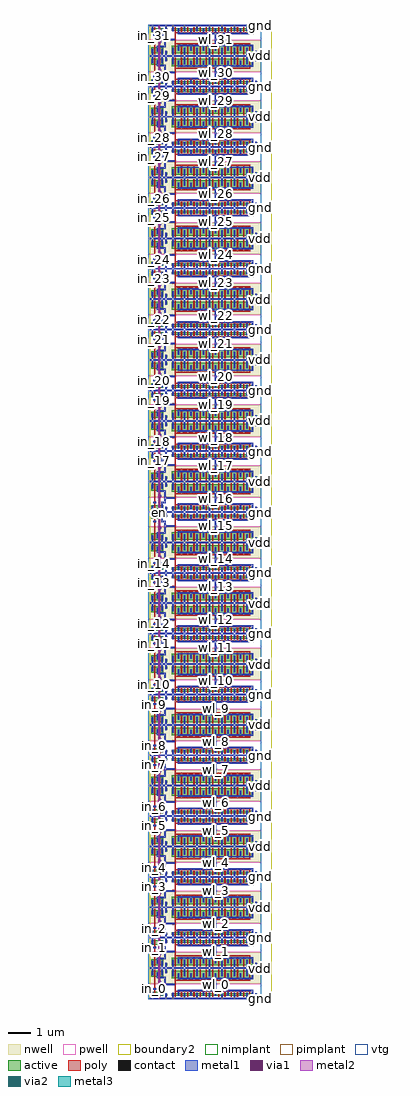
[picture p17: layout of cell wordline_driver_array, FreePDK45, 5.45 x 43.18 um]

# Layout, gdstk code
import gdstk
lib = gdstk.Library(unit=1e-6, precision=5e-10)
def R(c, l, rs):  # rectangles x0, y0, x1, y1
    for r in rs: c.add(gdstk.rectangle(r[:2], r[2:], *l))
def A(c, l, x, y, w, h, nx, ny, dx, dy):  # array of equal rectangles
    R(c, l, [(x+i*dx, y+j*dy, x+i*dx+w, y+j*dy+h) for i in range(nx) for j in range(ny)])
active = (1, 0)
pwell = (2, 0)
nwell = (3, 0)
nimplant = (4, 0)
pimplant = (5, 0)
vtg = (6, 0)
poly = (9, 0)
contact = (10, 0)
metal1 = (11, 0)
via1 = (12, 0)
metal2 = (13, 0)
via2 = (14, 0)
metal3 = (15, 0)
boundary2 = (239, 0)

contact_10 = lib.new_cell('contact_10')
R(contact_10, active, [(0,0.0225,0.09,0.1125)])
R(contact_10, nwell, [(-0.055,-0.0325,0.145,0.1675)])
R(contact_10, pimplant, [(0,0.0225,0.09,0.1125)])
R(contact_10, contact, [(0.0125,0.035,0.0775,0.1)])
R(contact_10, metal1, [(0.0125,0,0.0775,0.135)])
R(contact_10, boundary2, [(-0.055,-0.0325,0.145,0.1675)])

pmos_m1_w0_270_sm1_dm1 = lib.new_cell('pmos_m1_w0_270_sm1_dm1')
R(pmos_m1_w0_270_sm1_dm1, active, [(0,0,0.305,0.27)])
R(pmos_m1_w0_270_sm1_dm1, nwell, [(-0.08,-0.08,0.385,0.35)])
R(pmos_m1_w0_270_sm1_dm1, pimplant, [(0,0,0.305,0.27)])
R(pmos_m1_w0_270_sm1_dm1, vtg, [(-0.08,-0.08,0.385,0.35)])
R(pmos_m1_w0_270_sm1_dm1, poly, [(0.1275,-0.055,0.1775,0.325), (0.1275,-0.055,0.1775,0.325)])
R(pmos_m1_w0_270_sm1_dm1, metal1, [(0.0125,0.0675,0.0775,0.2025), (0.2275,0.0675,0.2925,0.2025)])
R(pmos_m1_w0_270_sm1_dm1, boundary2, [(-0.08,-0.08,0.385,0.35)])
pmos_m1_w0_270_sm1_dm1.add(gdstk.Reference(contact_10, (0,0.0675)))
pmos_m1_w0_270_sm1_dm1.add(gdstk.Reference(contact_10, (0.215,0.0675)))
pmos_m1_w0_270_sm1_dm1.add(gdstk.Label('G', (0.1525,0.135), layer=9, texttype=0))
pmos_m1_w0_270_sm1_dm1.add(gdstk.Label('S', (0.045,0.135), layer=11, texttype=0))
pmos_m1_w0_270_sm1_dm1.add(gdstk.Label('D', (0.26,0.135), layer=11, texttype=0))

contact_9 = lib.new_cell('contact_9')
R(contact_9, active, [(0,0.0225,0.09,0.1125)])
R(contact_9, pwell, [(-0.055,-0.0325,0.145,0.1675)])
R(contact_9, nimplant, [(0,0.0225,0.09,0.1125)])
R(contact_9, contact, [(0.0125,0.035,0.0775,0.1)])
R(contact_9, metal1, [(0.0125,0,0.0775,0.135)])
R(contact_9, boundary2, [(-0.055,-0.0325,0.145,0.1675)])

nmos_m1_w0_180_sm1_dacti = lib.new_cell('nmos_m1_w0_180_sm1_dactive')
R(nmos_m1_w0_180_sm1_dacti, active, [(0,0,0.305,0.18), (0.215,0.045,0.305,0.135)])
R(nmos_m1_w0_180_sm1_dacti, pwell, [(-0.08,-0.08,0.385,0.26)])
R(nmos_m1_w0_180_sm1_dacti, nimplant, [(0,0,0.305,0.18)])
R(nmos_m1_w0_180_sm1_dacti, vtg, [(-0.08,-0.08,0.385,0.26)])
R(nmos_m1_w0_180_sm1_dacti, poly, [(0.1275,-0.055,0.1775,0.235), (0.1275,-0.055,0.1775,0.235)])
R(nmos_m1_w0_180_sm1_dacti, metal1, [(0.0125,0.0225,0.0775,0.1575)])
R(nmos_m1_w0_180_sm1_dacti, boundary2, [(-0.08,-0.08,0.385,0.26)])
nmos_m1_w0_180_sm1_dacti.add(gdstk.Reference(contact_9, (0,0.0225)))
nmos_m1_w0_180_sm1_dacti.add(gdstk.Label('G', (0.1525,0.09), layer=9, texttype=0))
nmos_m1_w0_180_sm1_dacti.add(gdstk.Label('S', (0.045,0.09), layer=11, texttype=0))
nmos_m1_w0_180_sm1_dacti.add(gdstk.Label('D', (0.26,0.09), layer=1, texttype=0))

nmos_m1_w0_180_sactive_d = lib.new_cell('nmos_m1_w0_180_sactive_dm1')
R(nmos_m1_w0_180_sactive_d, active, [(0,0,0.305,0.18), (0,0.045,0.09,0.135)])
R(nmos_m1_w0_180_sactive_d, pwell, [(-0.08,-0.08,0.385,0.26)])
R(nmos_m1_w0_180_sactive_d, nimplant, [(0,0,0.305,0.18)])
R(nmos_m1_w0_180_sactive_d, vtg, [(-0.08,-0.08,0.385,0.26)])
R(nmos_m1_w0_180_sactive_d, poly, [(0.1275,-0.055,0.1775,0.235), (0.1275,-0.055,0.1775,0.235)])
R(nmos_m1_w0_180_sactive_d, metal1, [(0.2275,0.0225,0.2925,0.1575)])
R(nmos_m1_w0_180_sactive_d, boundary2, [(-0.08,-0.08,0.385,0.26)])
nmos_m1_w0_180_sactive_d.add(gdstk.Reference(contact_9, (0.215,0.0225)))
nmos_m1_w0_180_sactive_d.add(gdstk.Label('G', (0.1525,0.09), layer=9, texttype=0))
nmos_m1_w0_180_sactive_d.add(gdstk.Label('S', (0.045,0.09), layer=1, texttype=0))
nmos_m1_w0_180_sactive_d.add(gdstk.Label('D', (0.26,0.09), layer=11, texttype=0))

contact_11 = lib.new_cell('contact_11')
R(contact_11, active, [(0,0.0225,0.09,0.1125)])
R(contact_11, nwell, [(-0.055,-0.0325,0.145,0.1675)])
R(contact_11, nimplant, [(0,0.0225,0.09,0.1125)])
R(contact_11, contact, [(0.0125,0.035,0.0775,0.1)])
R(contact_11, metal1, [(0.0125,0,0.0775,0.135)])
R(contact_11, boundary2, [(-0.055,-0.0325,0.145,0.1675)])

contact_12 = lib.new_cell('contact_12')
R(contact_12, active, [(0,0.0225,0.09,0.1125)])
R(contact_12, pwell, [(-0.055,-0.0325,0.145,0.1675)])
R(contact_12, pimplant, [(0,0.0225,0.09,0.1125)])
R(contact_12, contact, [(0.0125,0.035,0.0775,0.1)])
R(contact_12, metal1, [(0.0125,0,0.0775,0.135)])
R(contact_12, boundary2, [(-0.055,-0.0325,0.145,0.1675)])

contact_13 = lib.new_cell('contact_13')
R(contact_13, poly, [(0.03,0,0.105,0.075)])
R(contact_13, contact, [(0.035,0.005,0.1,0.07)])
R(contact_13, metal1, [(0,0.005,0.135,0.07)])
R(contact_13, boundary2, [(0,0,0.135,0.075)])

pnand2 = lib.new_cell('pnand2')
R(pnand2, pwell, [(-0.055,-0.0325,0.9575,0.645)])
R(pnand2, nwell, [(-0.055,0.645,0.9575,1.38)])
R(pnand2, vtg, [(-0.055,-0.0325,0.9575,0.645), (-0.055,0.645,0.9575,1.38)])
R(pnand2, poly, [(0.2075,0.36,0.2575,0.895), (0.4225,0.36,0.4725,0.895), (0.2075,0.39,0.2325,0.465), (0.4225,0.67,0.4475,0.745)])
R(pnand2, metal1, [(0,-0.0325,0.9025,0.0325), (0.0925,-0.0325,0.1575,0.1475), (0.6925,0,0.7575,0.17), (0.5225,0.2825,0.5875,0.4125), (0.5225,0.38,0.5875,0.445), (0.555,0.38,0.685,0.445), (0.6525,0.38,0.7175,0.445), (0.165,0.395,0.3,0.46), (0.6525,0.4125,0.7175,0.92), (0.38,0.675,0.515,0.74), (0.3075,0.8875,0.3725,0.9525), (0.34,0.8875,0.685,0.9525), (0.6525,0.8875,0.7175,0.9525), (0.3075,0.92,0.3725,1.0175), (0.0925,1.0175,0.1575,1.3775), (0.5225,1.0175,0.5875,1.3775), (0.6925,1.175,0.7575,1.345), (0,1.3125,0.9025,1.3775)])
R(pnand2, boundary2, [(0,0,0.9025,1.345), (0,0,0.9025,1.345)])
pnand2.add(gdstk.Reference(pmos_m1_w0_270_sm1_dm1, (0.08,0.95)))
pnand2.add(gdstk.Reference(pmos_m1_w0_270_sm1_dm1, (0.295,0.95)))
pnand2.add(gdstk.Reference(nmos_m1_w0_180_sm1_dacti, (0.08,0.125)))
pnand2.add(gdstk.Reference(nmos_m1_w0_180_sactive_d, (0.295,0.125)))
pnand2.add(gdstk.Reference(contact_11, (0.68,1.1075)))
pnand2.add(gdstk.Reference(contact_12, (0.68,0.1025)))
pnand2.add(gdstk.Reference(contact_13, (0.165,0.39)))
pnand2.add(gdstk.Reference(contact_13, (0.38,0.67)))
pnand2.add(gdstk.Label('Z', (0.685,0.92), layer=11, texttype=0))
pnand2.add(gdstk.Label('gnd', (0.451,0), layer=11, texttype=0))
pnand2.add(gdstk.Label('vdd', (0.451,1.345), layer=11, texttype=0))
pnand2.add(gdstk.Label('A', (0.2325,0.4275), layer=11, texttype=0))
pnand2.add(gdstk.Label('B', (0.4475,0.7075), layer=11, texttype=0))

pmos_m13_w0_333_sm1_dm1_ = lib.new_cell('pmos_m13_w0_333_sm1_dm1_da_p')
R(pmos_m13_w0_333_sm1_dm1_, active, [(0,0,3.605,0.3325)])
R(pmos_m13_w0_333_sm1_dm1_, nwell, [(-0.08,-0.08,3.685,0.4125)])
R(pmos_m13_w0_333_sm1_dm1_, pimplant, [(0,0,3.605,0.3325)])
R(pmos_m13_w0_333_sm1_dm1_, vtg, [(-0.08,-0.08,3.685,0.4125)])
A(pmos_m13_w0_333_sm1_dm1_, poly, 0.1275, -0.055, 0.05, 0.4425, 13, 1, 0.275, 0)
R(pmos_m13_w0_333_sm1_dm1_, poly, [(0.1275,-0.105,3.4775,-0.055)])
A(pmos_m13_w0_333_sm1_dm1_, metal1, 0.2575, 0, 0.065, 0.165, 6, 1, 0.55, 0)
A(pmos_m13_w0_333_sm1_dm1_, metal1, 0.5325, 0.1, 0.065, 0.135, 6, 1, 0.55, 0)
R(pmos_m13_w0_333_sm1_dm1_, metal1, [(0.2575,-0.03,3.5925,0.035), (3.5275,0,3.5925,0.165), (0.0125,0.1,0.0775,0.235)])
R(pmos_m13_w0_333_sm1_dm1_, boundary2, [(-0.08,-0.08,3.685,0.4125)])
pmos_m13_w0_333_sm1_dm1_.add(gdstk.Reference(contact_10, (0,0.1)))
pmos_m13_w0_333_sm1_dm1_.add(gdstk.Reference(contact_10, (0.245,0.1)))
pmos_m13_w0_333_sm1_dm1_.add(gdstk.Reference(contact_10, (0.52,0.1)))
pmos_m13_w0_333_sm1_dm1_.add(gdstk.Reference(contact_10, (0.795,0.1)))
pmos_m13_w0_333_sm1_dm1_.add(gdstk.Reference(contact_10, (1.07,0.1)))
pmos_m13_w0_333_sm1_dm1_.add(gdstk.Reference(contact_10, (1.345,0.1)))
pmos_m13_w0_333_sm1_dm1_.add(gdstk.Reference(contact_10, (1.62,0.1)))
pmos_m13_w0_333_sm1_dm1_.add(gdstk.Reference(contact_10, (1.895,0.1)))
pmos_m13_w0_333_sm1_dm1_.add(gdstk.Reference(contact_10, (2.17,0.1)))
pmos_m13_w0_333_sm1_dm1_.add(gdstk.Reference(contact_10, (2.445,0.1)))
pmos_m13_w0_333_sm1_dm1_.add(gdstk.Reference(contact_10, (2.72,0.1)))
pmos_m13_w0_333_sm1_dm1_.add(gdstk.Reference(contact_10, (2.995,0.1)))
pmos_m13_w0_333_sm1_dm1_.add(gdstk.Reference(contact_10, (3.27,0.1)))
pmos_m13_w0_333_sm1_dm1_.add(gdstk.Reference(contact_10, (3.515,0.1)))
pmos_m13_w0_333_sm1_dm1_.add(gdstk.Label('G', (1.8025,-0.08), layer=9, texttype=0))
pmos_m13_w0_333_sm1_dm1_.add(gdstk.Label('S', (0.565,0.1675), layer=11, texttype=0))
pmos_m13_w0_333_sm1_dm1_.add(gdstk.Label('S', (3.315,0.1675), layer=11, texttype=0))
pmos_m13_w0_333_sm1_dm1_.add(gdstk.Label('S', (2.215,0.1675), layer=11, texttype=0))
pmos_m13_w0_333_sm1_dm1_.add(gdstk.Label('S', (1.115,0.1675), layer=11, texttype=0))
pmos_m13_w0_333_sm1_dm1_.add(gdstk.Label('S', (2.765,0.1675), layer=11, texttype=0))
pmos_m13_w0_333_sm1_dm1_.add(gdstk.Label('S', (1.665,0.1675), layer=11, texttype=0))
pmos_m13_w0_333_sm1_dm1_.add(gdstk.Label('S', (0.045,0.1675), layer=11, texttype=0))
pmos_m13_w0_333_sm1_dm1_.add(gdstk.Label('D', (1.925,0.0025), layer=11, texttype=0))

nmos_m13_w0_110_sm1_dm1_ = lib.new_cell('nmos_m13_w0_110_sm1_dm1_da_p')
R(nmos_m13_w0_110_sm1_dm1_, active, [(0,0,3.605,0.11)])
R(nmos_m13_w0_110_sm1_dm1_, pwell, [(-0.08,-0.08,3.685,0.19)])
R(nmos_m13_w0_110_sm1_dm1_, nimplant, [(0,0,3.605,0.11)])
R(nmos_m13_w0_110_sm1_dm1_, vtg, [(-0.08,-0.08,3.685,0.19)])
A(nmos_m13_w0_110_sm1_dm1_, poly, 0.1275, -0.055, 0.05, 0.22, 13, 1, 0.275, 0)
R(nmos_m13_w0_110_sm1_dm1_, poly, [(0.1275,0.165,3.4775,0.215)])
A(nmos_m13_w0_110_sm1_dm1_, metal1, 0.5325, -0.0125, 0.065, 0.135, 6, 1, 0.55, 0)
A(nmos_m13_w0_110_sm1_dm1_, metal1, 0.2575, 0.055, 0.065, 0.165, 6, 1, 0.55, 0)
R(nmos_m13_w0_110_sm1_dm1_, metal1, [(0.0125,-0.0125,0.0775,0.1225), (3.5275,0.055,3.5925,0.22), (0.2575,0.1875,3.5925,0.2525)])
R(nmos_m13_w0_110_sm1_dm1_, boundary2, [(-0.08,-0.08,3.685,0.22)])
nmos_m13_w0_110_sm1_dm1_.add(gdstk.Reference(contact_9, (0,-0.0125)))
nmos_m13_w0_110_sm1_dm1_.add(gdstk.Reference(contact_9, (0.245,-0.0125)))
nmos_m13_w0_110_sm1_dm1_.add(gdstk.Reference(contact_9, (0.52,-0.0125)))
nmos_m13_w0_110_sm1_dm1_.add(gdstk.Reference(contact_9, (0.795,-0.0125)))
nmos_m13_w0_110_sm1_dm1_.add(gdstk.Reference(contact_9, (1.07,-0.0125)))
nmos_m13_w0_110_sm1_dm1_.add(gdstk.Reference(contact_9, (1.345,-0.0125)))
nmos_m13_w0_110_sm1_dm1_.add(gdstk.Reference(contact_9, (1.62,-0.0125)))
nmos_m13_w0_110_sm1_dm1_.add(gdstk.Reference(contact_9, (1.895,-0.0125)))
nmos_m13_w0_110_sm1_dm1_.add(gdstk.Reference(contact_9, (2.17,-0.0125)))
nmos_m13_w0_110_sm1_dm1_.add(gdstk.Reference(contact_9, (2.445,-0.0125)))
nmos_m13_w0_110_sm1_dm1_.add(gdstk.Reference(contact_9, (2.72,-0.0125)))
nmos_m13_w0_110_sm1_dm1_.add(gdstk.Reference(contact_9, (2.995,-0.0125)))
nmos_m13_w0_110_sm1_dm1_.add(gdstk.Reference(contact_9, (3.27,-0.0125)))
nmos_m13_w0_110_sm1_dm1_.add(gdstk.Reference(contact_9, (3.515,-0.0125)))
nmos_m13_w0_110_sm1_dm1_.add(gdstk.Label('G', (1.8025,0.19), layer=9, texttype=0))
nmos_m13_w0_110_sm1_dm1_.add(gdstk.Label('S', (2.765,0.055), layer=11, texttype=0))
nmos_m13_w0_110_sm1_dm1_.add(gdstk.Label('S', (3.315,0.055), layer=11, texttype=0))
nmos_m13_w0_110_sm1_dm1_.add(gdstk.Label('S', (1.665,0.055), layer=11, texttype=0))
nmos_m13_w0_110_sm1_dm1_.add(gdstk.Label('S', (0.565,0.055), layer=11, texttype=0))
nmos_m13_w0_110_sm1_dm1_.add(gdstk.Label('S', (0.045,0.055), layer=11, texttype=0))
nmos_m13_w0_110_sm1_dm1_.add(gdstk.Label('S', (2.215,0.055), layer=11, texttype=0))
nmos_m13_w0_110_sm1_dm1_.add(gdstk.Label('S', (1.115,0.055), layer=11, texttype=0))
nmos_m13_w0_110_sm1_dm1_.add(gdstk.Label('D', (1.925,0.22), layer=11, texttype=0))

pinv_0 = lib.new_cell('pinv_0')
R(pinv_0, pwell, [(-0.055,-0.0325,4.0425,0.645)])
R(pinv_0, nwell, [(-0.055,0.645,4.0425,1.38)])
R(pinv_0, vtg, [(-0.055,-0.0325,4.0425,0.645), (-0.055,0.645,4.0425,1.38)])
R(pinv_0, poly, [(0.2075,0.34,0.2575,0.7825), (0.14,0.58,0.2075,0.655)])
A(pinv_0, metal1, 0.6125, -0.0325, 0.065, 0.145, 6, 1, 0.55, 0)
A(pinv_0, metal1, 0.6125, 0.9875, 0.065, 0.39, 6, 1, 0.55, 0)
R(pinv_0, metal1, [(0,-0.0325,3.9875,0.0325), (0.0925,-0.0325,0.1575,0.1125), (3.7775,0,3.8425,0.17), (1.9725,0.3125,2.0375,0.9225), (0.0725,0.585,0.2075,0.65), (2.005,0.585,2.07,0.65), (0.0925,0.9875,0.1575,1.3775), (3.7775,1.175,3.8425,1.345), (0,1.3125,3.9875,1.3775)])
R(pinv_0, boundary2, [(0,0,3.9875,1.345), (0,0,3.9875,1.345)])
pinv_0.add(gdstk.Reference(pmos_m13_w0_333_sm1_dm1_, (0.08,0.8875)))
pinv_0.add(gdstk.Reference(nmos_m13_w0_110_sm1_dm1_, (0.08,0.125)))
pinv_0.add(gdstk.Reference(contact_11, (3.765,1.1075)))
pinv_0.add(gdstk.Reference(contact_12, (3.765,0.1025)))
pinv_0.add(gdstk.Reference(contact_13, (0.0725,0.58)))
pinv_0.add(gdstk.Label('A', (0.14,0.6175), layer=11, texttype=0))
pinv_0.add(gdstk.Label('Z', (2.0375,0.6175), layer=11, texttype=0))
pinv_0.add(gdstk.Label('gnd', (1.994,0), layer=11, texttype=0))
pinv_0.add(gdstk.Label('vdd', (1.994,1.345), layer=11, texttype=0))

wordline_driver = lib.new_cell('wordline_driver')
R(wordline_driver, metal1, [(0,-0.0325,4.89,0.0325), (0.165,0.395,0.3,0.46), (0.6525,0.585,0.7175,0.65), (0.685,0.585,1.0425,0.65), (2.9075,0.585,2.9725,0.65), (0.6525,0.6175,0.7175,0.92), (0.38,0.675,0.515,0.74), (0,1.3125,4.89,1.3775)])
R(wordline_driver, boundary2, [(0,0,4.89,1.345)])
wordline_driver.add(gdstk.Reference(pnand2, (0,0)))
wordline_driver.add(gdstk.Reference(pinv_0, (0.9025,0)))
wordline_driver.add(gdstk.Label('Z', (2.94,0.6175), layer=11, texttype=0))
wordline_driver.add(gdstk.Label('A', (0.2325,0.4275), layer=11, texttype=0))
wordline_driver.add(gdstk.Label('B', (0.4475,0.7075), layer=11, texttype=0))
wordline_driver.add(gdstk.Label('gnd', (2.445,0), layer=11, texttype=0))
wordline_driver.add(gdstk.Label('vdd', (2.445,1.345), layer=11, texttype=0))

contact_6 = lib.new_cell('contact_6')
R(contact_6, metal1, [(0,0.035,0.135,0.1)])
R(contact_6, via1, [(0.035,0.035,0.1,0.1)])
R(contact_6, metal2, [(0.0325,0,0.1025,0.135)])
R(contact_6, boundary2, [(0,0,0.135,0.135)])

contact_7 = lib.new_cell('contact_7')
R(contact_7, metal2, [(0.0325,0,0.1025,0.135)])
R(contact_7, via2, [(0.035,0.035,0.1,0.1)])
R(contact_7, metal3, [(0,0.0325,0.135,0.1025)])
R(contact_7, boundary2, [(0,0,0.135,0.135)])

wordline_driver_array = lib.new_cell('wordline_driver_array')
R(wordline_driver_array, metal1, [(0.165,0.395,0.3,0.46), (2.9075,0.585,2.9725,0.65), (2.9075,2.04,2.9725,2.105), (0.165,2.23,0.3,2.295), (0.165,3.085,0.3,3.15), (2.9075,3.275,2.9725,3.34), (2.9075,4.73,2.9725,4.795), (0.165,4.92,0.3,4.985), (0.165,5.775,0.3,5.84), (2.9075,5.965,2.9725,6.03), (2.9075,7.42,2.9725,7.485), (0.165,7.61,0.3,7.675), (0.165,8.465,0.3,8.53), (2.9075,8.655,2.9725,8.72), (2.9075,10.11,2.9725,10.175), (0.165,10.3,0.3,10.365), (0.165,11.155,0.3,11.22), (2.9075,11.345,2.9725,11.41), (2.9075,12.8,2.9725,12.865), (0.165,12.99,0.3,13.055), (0.165,13.845,0.3,13.91), (2.9075,14.035,2.9725,14.1), (2.9075,15.49,2.9725,15.555), (0.165,15.68,0.3,15.745), (0.165,16.535,0.3,16.6), (2.9075,16.725,2.9725,16.79), (2.9075,18.18,2.9725,18.245), (0.165,18.37,0.3,18.435), (0.165,19.225,0.3,19.29), (2.9075,19.415,2.9725,19.48), (2.9075,20.87,2.9725,20.935), (0.165,21.06,0.3,21.125), (0.165,21.915,0.3,21.98), (2.9075,22.105,2.9725,22.17), (2.9075,23.56,2.9725,23.625), (0.165,23.75,0.3,23.815), (0.165,24.605,0.3,24.67), (2.9075,24.795,2.9725,24.86), (2.9075,26.25,2.9725,26.315), (0.165,26.44,0.3,26.505), (0.165,27.295,0.3,27.36), (2.9075,27.485,2.9725,27.55), (2.9075,28.94,2.9725,29.005), (0.165,29.13,0.3,29.195), (0.165,29.985,0.3,30.05), (2.9075,30.175,2.9725,30.24), (2.9075,31.63,2.9725,31.695), (0.165,31.82,0.3,31.885), (0.165,32.675,0.3,32.74), (2.9075,32.865,2.9725,32.93), (2.9075,34.32,2.9725,34.385), (0.165,34.51,0.3,34.575), (0.165,35.365,0.3,35.43), (2.9075,35.555,2.9725,35.62), (2.9075,37.01,2.9725,37.075), (0.165,37.2,0.3,37.265), (0.165,38.055,0.3,38.12), (2.9075,38.245,2.9725,38.31), (2.9075,39.7,2.9725,39.765), (0.165,39.89,0.3,39.955), (0.165,40.745,0.3,40.81), (2.9075,40.935,2.9725,41), (2.9075,42.39,2.9725,42.455), (0.165,42.58,0.3,42.645)])
R(wordline_driver_array, metal2, [(0.38,0,0.45,43.04)])
A(wordline_driver_array, metal3, 4.8225, -0.0675, 0.135, 0.135, 1, 6, 0, 1.345)
A(wordline_driver_array, metal3, 4.8225, 6.6575, 0.135, 0.135, 1, 11, 0, 1.345)
A(wordline_driver_array, metal3, 4.8225, 20.1075, 0.135, 0.135, 1, 7, 0, 1.345)
A(wordline_driver_array, metal3, 4.8225, 28.1775, 0.135, 0.135, 1, 7, 0, 1.345)
A(wordline_driver_array, metal3, 4.8225, 36.2475, 0.135, 0.135, 1, 6, 0, 1.345)
R(wordline_driver_array, boundary2, [(0,0,5.395,43.04)])
wordline_driver_array.add(gdstk.Reference(wordline_driver, (0,0)))
wordline_driver_array.add(gdstk.Reference(wordline_driver, (0,2.69), x_reflection=True))
wordline_driver_array.add(gdstk.Reference(wordline_driver, (0,2.69)))
wordline_driver_array.add(gdstk.Reference(wordline_driver, (0,5.38), x_reflection=True))
wordline_driver_array.add(gdstk.Reference(wordline_driver, (0,5.38)))
wordline_driver_array.add(gdstk.Reference(wordline_driver, (0,8.07), x_reflection=True))
wordline_driver_array.add(gdstk.Reference(wordline_driver, (0,8.07)))
wordline_driver_array.add(gdstk.Reference(wordline_driver, (0,10.76), x_reflection=True))
wordline_driver_array.add(gdstk.Reference(wordline_driver, (0,10.76)))
wordline_driver_array.add(gdstk.Reference(wordline_driver, (0,13.45), x_reflection=True))
wordline_driver_array.add(gdstk.Reference(wordline_driver, (0,13.45)))
wordline_driver_array.add(gdstk.Reference(wordline_driver, (0,16.14), x_reflection=True))
wordline_driver_array.add(gdstk.Reference(wordline_driver, (0,16.14)))
wordline_driver_array.add(gdstk.Reference(wordline_driver, (0,18.83), x_reflection=True))
wordline_driver_array.add(gdstk.Reference(wordline_driver, (0,18.83)))
wordline_driver_array.add(gdstk.Reference(wordline_driver, (0,21.52), x_reflection=True))
wordline_driver_array.add(gdstk.Reference(wordline_driver, (0,21.52)))
wordline_driver_array.add(gdstk.Reference(wordline_driver, (0,24.21), x_reflection=True))
wordline_driver_array.add(gdstk.Reference(wordline_driver, (0,24.21)))
wordline_driver_array.add(gdstk.Reference(wordline_driver, (0,26.9), x_reflection=True))
wordline_driver_array.add(gdstk.Reference(wordline_driver, (0,26.9)))
wordline_driver_array.add(gdstk.Reference(wordline_driver, (0,29.59), x_reflection=True))
wordline_driver_array.add(gdstk.Reference(wordline_driver, (0,29.59)))
wordline_driver_array.add(gdstk.Reference(wordline_driver, (0,32.28), x_reflection=True))
wordline_driver_array.add(gdstk.Reference(wordline_driver, (0,32.28)))
wordline_driver_array.add(gdstk.Reference(wordline_driver, (0,34.97), x_reflection=True))
wordline_driver_array.add(gdstk.Reference(wordline_driver, (0,34.97)))
wordline_driver_array.add(gdstk.Reference(wordline_driver, (0,37.66), x_reflection=True))
wordline_driver_array.add(gdstk.Reference(wordline_driver, (0,37.66)))
wordline_driver_array.add(gdstk.Reference(wordline_driver, (0,40.35), x_reflection=True))
wordline_driver_array.add(gdstk.Reference(wordline_driver, (0,40.35)))
wordline_driver_array.add(gdstk.Reference(wordline_driver, (0,43.04), x_reflection=True))
wordline_driver_array.add(gdstk.Reference(contact_6, (0.38,0.64)))
wordline_driver_array.add(gdstk.Reference(contact_6, (0.38,1.915)))
wordline_driver_array.add(gdstk.Reference(contact_6, (0.38,3.33)))
wordline_driver_array.add(gdstk.Reference(contact_6, (0.38,4.605)))
wordline_driver_array.add(gdstk.Reference(contact_6, (0.38,6.02)))
wordline_driver_array.add(gdstk.Reference(contact_6, (0.38,7.295)))
wordline_driver_array.add(gdstk.Reference(contact_6, (0.38,8.71)))
wordline_driver_array.add(gdstk.Reference(contact_6, (0.38,9.985)))
wordline_driver_array.add(gdstk.Reference(contact_6, (0.38,11.4)))
wordline_driver_array.add(gdstk.Reference(contact_6, (0.38,12.675)))
wordline_driver_array.add(gdstk.Reference(contact_6, (0.38,14.09)))
wordline_driver_array.add(gdstk.Reference(contact_6, (0.38,15.365)))
wordline_driver_array.add(gdstk.Reference(contact_6, (0.38,16.78)))
wordline_driver_array.add(gdstk.Reference(contact_6, (0.38,18.055)))
wordline_driver_array.add(gdstk.Reference(contact_6, (0.38,19.47)))
wordline_driver_array.add(gdstk.Reference(contact_6, (0.38,20.745)))
wordline_driver_array.add(gdstk.Reference(contact_6, (0.38,22.16)))
wordline_driver_array.add(gdstk.Reference(contact_6, (0.38,23.435)))
wordline_driver_array.add(gdstk.Reference(contact_6, (0.38,24.85)))
wordline_driver_array.add(gdstk.Reference(contact_6, (0.38,26.125)))
wordline_driver_array.add(gdstk.Reference(contact_6, (0.38,27.54)))
wordline_driver_array.add(gdstk.Reference(contact_6, (0.38,28.815)))
wordline_driver_array.add(gdstk.Reference(contact_6, (0.38,30.23)))
wordline_driver_array.add(gdstk.Reference(contact_6, (0.38,31.505)))
wordline_driver_array.add(gdstk.Reference(contact_6, (0.38,32.92)))
wordline_driver_array.add(gdstk.Reference(contact_6, (0.38,34.195)))
wordline_driver_array.add(gdstk.Reference(contact_6, (0.38,35.61)))
wordline_driver_array.add(gdstk.Reference(contact_6, (0.38,36.885)))
wordline_driver_array.add(gdstk.Reference(contact_6, (0.38,38.3)))
wordline_driver_array.add(gdstk.Reference(contact_6, (0.38,39.575)))
wordline_driver_array.add(gdstk.Reference(contact_6, (0.38,40.99)))
wordline_driver_array.add(gdstk.Reference(contact_6, (0.38,42.265)))
wordline_driver_array.add(gdstk.Reference(contact_6, (4.8225,1.2775)))
wordline_driver_array.add(gdstk.Reference(contact_7, (4.8225,1.2775)))
wordline_driver_array.add(gdstk.Reference(contact_6, (4.8225,-0.0675)))
wordline_driver_array.add(gdstk.Reference(contact_7, (4.8225,-0.0675)))
wordline_driver_array.add(gdstk.Reference(contact_6, (4.8225,1.2775)))
wordline_driver_array.add(gdstk.Reference(contact_7, (4.8225,1.2775)))
wordline_driver_array.add(gdstk.Reference(contact_6, (4.8225,2.6225)))
wordline_driver_array.add(gdstk.Reference(contact_7, (4.8225,2.6225)))
wordline_driver_array.add(gdstk.Reference(contact_6, (4.8225,3.9675)))
wordline_driver_array.add(gdstk.Reference(contact_7, (4.8225,3.9675)))
wordline_driver_array.add(gdstk.Reference(contact_6, (4.8225,2.6225)))
wordline_driver_array.add(gdstk.Reference(contact_7, (4.8225,2.6225)))
wordline_driver_array.add(gdstk.Reference(contact_6, (4.8225,3.9675)))
wordline_driver_array.add(gdstk.Reference(contact_7, (4.8225,3.9675)))
wordline_driver_array.add(gdstk.Reference(contact_6, (4.8225,5.3125)))
wordline_driver_array.add(gdstk.Reference(contact_7, (4.8225,5.3125)))
wordline_driver_array.add(gdstk.Reference(contact_6, (4.8225,6.6575)))
wordline_driver_array.add(gdstk.Reference(contact_7, (4.8225,6.6575)))
wordline_driver_array.add(gdstk.Reference(contact_6, (4.8225,5.3125)))
wordline_driver_array.add(gdstk.Reference(contact_7, (4.8225,5.3125)))
wordline_driver_array.add(gdstk.Reference(contact_6, (4.8225,6.6575)))
wordline_driver_array.add(gdstk.Reference(contact_7, (4.8225,6.6575)))
wordline_driver_array.add(gdstk.Reference(contact_6, (4.8225,8.0025)))
wordline_driver_array.add(gdstk.Reference(contact_7, (4.8225,8.0025)))
wordline_driver_array.add(gdstk.Reference(contact_6, (4.8225,9.3475)))
wordline_driver_array.add(gdstk.Reference(contact_7, (4.8225,9.3475)))
wordline_driver_array.add(gdstk.Reference(contact_6, (4.8225,8.0025)))
wordline_driver_array.add(gdstk.Reference(contact_7, (4.8225,8.0025)))
wordline_driver_array.add(gdstk.Reference(contact_6, (4.8225,9.3475)))
wordline_driver_array.add(gdstk.Reference(contact_7, (4.8225,9.3475)))
wordline_driver_array.add(gdstk.Reference(contact_6, (4.8225,10.6925)))
wordline_driver_array.add(gdstk.Reference(contact_7, (4.8225,10.6925)))
wordline_driver_array.add(gdstk.Reference(contact_6, (4.8225,12.0375)))
wordline_driver_array.add(gdstk.Reference(contact_7, (4.8225,12.0375)))
wordline_driver_array.add(gdstk.Reference(contact_6, (4.8225,10.6925)))
wordline_driver_array.add(gdstk.Reference(contact_7, (4.8225,10.6925)))
wordline_driver_array.add(gdstk.Reference(contact_6, (4.8225,12.0375)))
wordline_driver_array.add(gdstk.Reference(contact_7, (4.8225,12.0375)))
wordline_driver_array.add(gdstk.Reference(contact_6, (4.8225,13.3825)))
wordline_driver_array.add(gdstk.Reference(contact_7, (4.8225,13.3825)))
wordline_driver_array.add(gdstk.Reference(contact_6, (4.8225,14.7275)))
wordline_driver_array.add(gdstk.Reference(contact_7, (4.8225,14.7275)))
wordline_driver_array.add(gdstk.Reference(contact_6, (4.8225,13.3825)))
wordline_driver_array.add(gdstk.Reference(contact_7, (4.8225,13.3825)))
wordline_driver_array.add(gdstk.Reference(contact_6, (4.8225,14.7275)))
wordline_driver_array.add(gdstk.Reference(contact_7, (4.8225,14.7275)))
wordline_driver_array.add(gdstk.Reference(contact_6, (4.8225,16.0725)))
wordline_driver_array.add(gdstk.Reference(contact_7, (4.8225,16.0725)))
wordline_driver_array.add(gdstk.Reference(contact_6, (4.8225,17.4175)))
wordline_driver_array.add(gdstk.Reference(contact_7, (4.8225,17.4175)))
wordline_driver_array.add(gdstk.Reference(contact_6, (4.8225,16.0725)))
wordline_driver_array.add(gdstk.Reference(contact_7, (4.8225,16.0725)))
wordline_driver_array.add(gdstk.Reference(contact_6, (4.8225,17.4175)))
wordline_driver_array.add(gdstk.Reference(contact_7, (4.8225,17.4175)))
wordline_driver_array.add(gdstk.Reference(contact_6, (4.8225,18.7625)))
wordline_driver_array.add(gdstk.Reference(contact_7, (4.8225,18.7625)))
wordline_driver_array.add(gdstk.Reference(contact_6, (4.8225,20.1075)))
wordline_driver_array.add(gdstk.Reference(contact_7, (4.8225,20.1075)))
wordline_driver_array.add(gdstk.Reference(contact_6, (4.8225,18.7625)))
wordline_driver_array.add(gdstk.Reference(contact_7, (4.8225,18.7625)))
wordline_driver_array.add(gdstk.Reference(contact_6, (4.8225,20.1075)))
wordline_driver_array.add(gdstk.Reference(contact_7, (4.8225,20.1075)))
wordline_driver_array.add(gdstk.Reference(contact_6, (4.8225,21.4525)))
wordline_driver_array.add(gdstk.Reference(contact_7, (4.8225,21.4525)))
wordline_driver_array.add(gdstk.Reference(contact_6, (4.8225,22.7975)))
wordline_driver_array.add(gdstk.Reference(contact_7, (4.8225,22.7975)))
wordline_driver_array.add(gdstk.Reference(contact_6, (4.8225,21.4525)))
wordline_driver_array.add(gdstk.Reference(contact_7, (4.8225,21.4525)))
wordline_driver_array.add(gdstk.Reference(contact_6, (4.8225,22.7975)))
wordline_driver_array.add(gdstk.Reference(contact_7, (4.8225,22.7975)))
wordline_driver_array.add(gdstk.Reference(contact_6, (4.8225,24.1425)))
wordline_driver_array.add(gdstk.Reference(contact_7, (4.8225,24.1425)))
wordline_driver_array.add(gdstk.Reference(contact_6, (4.8225,25.4875)))
wordline_driver_array.add(gdstk.Reference(contact_7, (4.8225,25.4875)))
wordline_driver_array.add(gdstk.Reference(contact_6, (4.8225,24.1425)))
wordline_driver_array.add(gdstk.Reference(contact_7, (4.8225,24.1425)))
wordline_driver_array.add(gdstk.Reference(contact_6, (4.8225,25.4875)))
wordline_driver_array.add(gdstk.Reference(contact_7, (4.8225,25.4875)))
wordline_driver_array.add(gdstk.Reference(contact_6, (4.8225,26.8325)))
wordline_driver_array.add(gdstk.Reference(contact_7, (4.8225,26.8325)))
wordline_driver_array.add(gdstk.Reference(contact_6, (4.8225,28.1775)))
wordline_driver_array.add(gdstk.Reference(contact_7, (4.8225,28.1775)))
wordline_driver_array.add(gdstk.Reference(contact_6, (4.8225,26.8325)))
wordline_driver_array.add(gdstk.Reference(contact_7, (4.8225,26.8325)))
wordline_driver_array.add(gdstk.Reference(contact_6, (4.8225,28.1775)))
wordline_driver_array.add(gdstk.Reference(contact_7, (4.8225,28.1775)))
wordline_driver_array.add(gdstk.Reference(contact_6, (4.8225,29.5225)))
wordline_driver_array.add(gdstk.Reference(contact_7, (4.8225,29.5225)))
wordline_driver_array.add(gdstk.Reference(contact_6, (4.8225,30.8675)))
wordline_driver_array.add(gdstk.Reference(contact_7, (4.8225,30.8675)))
wordline_driver_array.add(gdstk.Reference(contact_6, (4.8225,29.5225)))
wordline_driver_array.add(gdstk.Reference(contact_7, (4.8225,29.5225)))
wordline_driver_array.add(gdstk.Reference(contact_6, (4.8225,30.8675)))
wordline_driver_array.add(gdstk.Reference(contact_7, (4.8225,30.8675)))
wordline_driver_array.add(gdstk.Reference(contact_6, (4.8225,32.2125)))
wordline_driver_array.add(gdstk.Reference(contact_7, (4.8225,32.2125)))
wordline_driver_array.add(gdstk.Reference(contact_6, (4.8225,33.5575)))
wordline_driver_array.add(gdstk.Reference(contact_7, (4.8225,33.5575)))
wordline_driver_array.add(gdstk.Reference(contact_6, (4.8225,32.2125)))
wordline_driver_array.add(gdstk.Reference(contact_7, (4.8225,32.2125)))
wordline_driver_array.add(gdstk.Reference(contact_6, (4.8225,33.5575)))
wordline_driver_array.add(gdstk.Reference(contact_7, (4.8225,33.5575)))
wordline_driver_array.add(gdstk.Reference(contact_6, (4.8225,34.9025)))
wordline_driver_array.add(gdstk.Reference(contact_7, (4.8225,34.9025)))
wordline_driver_array.add(gdstk.Reference(contact_6, (4.8225,36.2475)))
wordline_driver_array.add(gdstk.Reference(contact_7, (4.8225,36.2475)))
wordline_driver_array.add(gdstk.Reference(contact_6, (4.8225,34.9025)))
wordline_driver_array.add(gdstk.Reference(contact_7, (4.8225,34.9025)))
wordline_driver_array.add(gdstk.Reference(contact_6, (4.8225,36.2475)))
wordline_driver_array.add(gdstk.Reference(contact_7, (4.8225,36.2475)))
wordline_driver_array.add(gdstk.Reference(contact_6, (4.8225,37.5925)))
wordline_driver_array.add(gdstk.Reference(contact_7, (4.8225,37.5925)))
wordline_driver_array.add(gdstk.Reference(contact_6, (4.8225,38.9375)))
wordline_driver_array.add(gdstk.Reference(contact_7, (4.8225,38.9375)))
wordline_driver_array.add(gdstk.Reference(contact_6, (4.8225,37.5925)))
wordline_driver_array.add(gdstk.Reference(contact_7, (4.8225,37.5925)))
wordline_driver_array.add(gdstk.Reference(contact_6, (4.8225,38.9375)))
wordline_driver_array.add(gdstk.Reference(contact_7, (4.8225,38.9375)))
wordline_driver_array.add(gdstk.Reference(contact_6, (4.8225,40.2825)))
wordline_driver_array.add(gdstk.Reference(contact_7, (4.8225,40.2825)))
wordline_driver_array.add(gdstk.Reference(contact_6, (4.8225,41.6275)))
wordline_driver_array.add(gdstk.Reference(contact_7, (4.8225,41.6275)))
wordline_driver_array.add(gdstk.Reference(contact_6, (4.8225,40.2825)))
wordline_driver_array.add(gdstk.Reference(contact_7, (4.8225,40.2825)))
wordline_driver_array.add(gdstk.Reference(contact_6, (4.8225,41.6275)))
wordline_driver_array.add(gdstk.Reference(contact_7, (4.8225,41.6275)))
wordline_driver_array.add(gdstk.Reference(contact_6, (4.8225,42.9725)))
wordline_driver_array.add(gdstk.Reference(contact_7, (4.8225,42.9725)))
wordline_driver_array.add(gdstk.Label('en', (0.415,21.52), layer=13, texttype=0))
wordline_driver_array.add(gdstk.Label('in_0', (0.2325,0.4275), layer=11, texttype=0))
wordline_driver_array.add(gdstk.Label('wl_0', (2.94,0.6175), layer=11, texttype=0))
wordline_driver_array.add(gdstk.Label('in_1', (0.2325,2.2625), layer=11, texttype=0))
wordline_driver_array.add(gdstk.Label('wl_1', (2.94,2.0725), layer=11, texttype=0))
wordline_driver_array.add(gdstk.Label('in_2', (0.2325,3.1175), layer=11, texttype=0))
wordline_driver_array.add(gdstk.Label('wl_2', (2.94,3.3075), layer=11, texttype=0))
wordline_driver_array.add(gdstk.Label('in_3', (0.2325,4.9525), layer=11, texttype=0))
wordline_driver_array.add(gdstk.Label('wl_3', (2.94,4.7625), layer=11, texttype=0))
wordline_driver_array.add(gdstk.Label('in_4', (0.2325,5.8075), layer=11, texttype=0))
wordline_driver_array.add(gdstk.Label('wl_4', (2.94,5.9975), layer=11, texttype=0))
wordline_driver_array.add(gdstk.Label('in_5', (0.2325,7.6425), layer=11, texttype=0))
wordline_driver_array.add(gdstk.Label('wl_5', (2.94,7.4525), layer=11, texttype=0))
wordline_driver_array.add(gdstk.Label('in_6', (0.2325,8.4975), layer=11, texttype=0))
wordline_driver_array.add(gdstk.Label('wl_6', (2.94,8.6875), layer=11, texttype=0))
wordline_driver_array.add(gdstk.Label('in_7', (0.2325,10.3325), layer=11, texttype=0))
wordline_driver_array.add(gdstk.Label('wl_7', (2.94,10.1425), layer=11, texttype=0))
wordline_driver_array.add(gdstk.Label('in_8', (0.2325,11.1875), layer=11, texttype=0))
wordline_driver_array.add(gdstk.Label('wl_8', (2.94,11.3775), layer=11, texttype=0))
wordline_driver_array.add(gdstk.Label('in_9', (0.2325,13.0225), layer=11, texttype=0))
wordline_driver_array.add(gdstk.Label('wl_9', (2.94,12.8325), layer=11, texttype=0))
wordline_driver_array.add(gdstk.Label('in_10', (0.2325,13.8775), layer=11, texttype=0))
wordline_driver_array.add(gdstk.Label('wl_10', (2.94,14.0675), layer=11, texttype=0))
wordline_driver_array.add(gdstk.Label('in_11', (0.2325,15.7125), layer=11, texttype=0))
wordline_driver_array.add(gdstk.Label('wl_11', (2.94,15.5225), layer=11, texttype=0))
wordline_driver_array.add(gdstk.Label('in_12', (0.2325,16.5675), layer=11, texttype=0))
wordline_driver_array.add(gdstk.Label('wl_12', (2.94,16.7575), layer=11, texttype=0))
wordline_driver_array.add(gdstk.Label('in_13', (0.2325,18.4025), layer=11, texttype=0))
wordline_driver_array.add(gdstk.Label('wl_13', (2.94,18.2125), layer=11, texttype=0))
wordline_driver_array.add(gdstk.Label('in_14', (0.2325,19.2575), layer=11, texttype=0))
wordline_driver_array.add(gdstk.Label('wl_14', (2.94,19.4475), layer=11, texttype=0))
wordline_driver_array.add(gdstk.Label('in_15', (0.2325,21.0925), layer=11, texttype=0))
wordline_driver_array.add(gdstk.Label('wl_15', (2.94,20.9025), layer=11, texttype=0))
wordline_driver_array.add(gdstk.Label('in_16', (0.2325,21.9475), layer=11, texttype=0))
wordline_driver_array.add(gdstk.Label('wl_16', (2.94,22.1375), layer=11, texttype=0))
wordline_driver_array.add(gdstk.Label('in_17', (0.2325,23.7825), layer=11, texttype=0))
wordline_driver_array.add(gdstk.Label('wl_17', (2.94,23.5925), layer=11, texttype=0))
wordline_driver_array.add(gdstk.Label('in_18', (0.2325,24.6375), layer=11, texttype=0))
wordline_driver_array.add(gdstk.Label('wl_18', (2.94,24.8275), layer=11, texttype=0))
wordline_driver_array.add(gdstk.Label('in_19', (0.2325,26.4725), layer=11, texttype=0))
wordline_driver_array.add(gdstk.Label('wl_19', (2.94,26.2825), layer=11, texttype=0))
wordline_driver_array.add(gdstk.Label('in_20', (0.2325,27.3275), layer=11, texttype=0))
wordline_driver_array.add(gdstk.Label('wl_20', (2.94,27.5175), layer=11, texttype=0))
wordline_driver_array.add(gdstk.Label('in_21', (0.2325,29.1625), layer=11, texttype=0))
wordline_driver_array.add(gdstk.Label('wl_21', (2.94,28.9725), layer=11, texttype=0))
wordline_driver_array.add(gdstk.Label('in_22', (0.2325,30.0175), layer=11, texttype=0))
wordline_driver_array.add(gdstk.Label('wl_22', (2.94,30.2075), layer=11, texttype=0))
wordline_driver_array.add(gdstk.Label('in_23', (0.2325,31.8525), layer=11, texttype=0))
wordline_driver_array.add(gdstk.Label('wl_23', (2.94,31.6625), layer=11, texttype=0))
wordline_driver_array.add(gdstk.Label('in_24', (0.2325,32.7075), layer=11, texttype=0))
wordline_driver_array.add(gdstk.Label('wl_24', (2.94,32.8975), layer=11, texttype=0))
wordline_driver_array.add(gdstk.Label('in_25', (0.2325,34.5425), layer=11, texttype=0))
wordline_driver_array.add(gdstk.Label('wl_25', (2.94,34.3525), layer=11, texttype=0))
wordline_driver_array.add(gdstk.Label('in_26', (0.2325,35.3975), layer=11, texttype=0))
wordline_driver_array.add(gdstk.Label('wl_26', (2.94,35.5875), layer=11, texttype=0))
wordline_driver_array.add(gdstk.Label('in_27', (0.2325,37.2325), layer=11, texttype=0))
wordline_driver_array.add(gdstk.Label('wl_27', (2.94,37.0425), layer=11, texttype=0))
wordline_driver_array.add(gdstk.Label('in_28', (0.2325,38.0875), layer=11, texttype=0))
wordline_driver_array.add(gdstk.Label('wl_28', (2.94,38.2775), layer=11, texttype=0))
wordline_driver_array.add(gdstk.Label('in_29', (0.2325,39.9225), layer=11, texttype=0))
wordline_driver_array.add(gdstk.Label('wl_29', (2.94,39.7325), layer=11, texttype=0))
wordline_driver_array.add(gdstk.Label('in_30', (0.2325,40.7775), layer=11, texttype=0))
wordline_driver_array.add(gdstk.Label('wl_30', (2.94,40.9675), layer=11, texttype=0))
wordline_driver_array.add(gdstk.Label('in_31', (0.2325,42.6125), layer=11, texttype=0))
wordline_driver_array.add(gdstk.Label('wl_31', (2.94,42.4225), layer=11, texttype=0))
wordline_driver_array.add(gdstk.Label('vdd', (4.89,12.105), layer=15, texttype=0))
wordline_driver_array.add(gdstk.Label('vdd', (4.89,36.315), layer=15, texttype=0))
wordline_driver_array.add(gdstk.Label('vdd', (4.89,36.315), layer=15, texttype=0))
wordline_driver_array.add(gdstk.Label('vdd', (4.89,14.795), layer=15, texttype=0))
wordline_driver_array.add(gdstk.Label('vdd', (4.89,22.865), layer=15, texttype=0))
wordline_driver_array.add(gdstk.Label('vdd', (4.89,6.725), layer=15, texttype=0))
wordline_driver_array.add(gdstk.Label('vdd', (4.89,6.725), layer=15, texttype=0))
wordline_driver_array.add(gdstk.Label('vdd', (4.89,41.695), layer=15, texttype=0))
wordline_driver_array.add(gdstk.Label('vdd', (4.89,9.415), layer=15, texttype=0))
wordline_driver_array.add(gdstk.Label('vdd', (4.89,28.245), layer=15, texttype=0))
wordline_driver_array.add(gdstk.Label('vdd', (4.89,28.245), layer=15, texttype=0))
wordline_driver_array.add(gdstk.Label('vdd', (4.89,25.555), layer=15, texttype=0))
wordline_driver_array.add(gdstk.Label('vdd', (4.89,39.005), layer=15, texttype=0))
wordline_driver_array.add(gdstk.Label('vdd', (4.89,1.345), layer=15, texttype=0))
wordline_driver_array.add(gdstk.Label('vdd', (4.89,20.175), layer=15, texttype=0))
wordline_driver_array.add(gdstk.Label('vdd', (4.89,20.175), layer=15, texttype=0))
wordline_driver_array.add(gdstk.Label('vdd', (4.89,17.485), layer=15, texttype=0))
wordline_driver_array.add(gdstk.Label('vdd', (4.89,33.625), layer=15, texttype=0))
wordline_driver_array.add(gdstk.Label('vdd', (4.89,30.935), layer=15, texttype=0))
wordline_driver_array.add(gdstk.Label('vdd', (4.89,4.035), layer=15, texttype=0))
wordline_driver_array.add(gdstk.Label('gnd', (4.89,21.52), layer=15, texttype=0))
wordline_driver_array.add(gdstk.Label('gnd', (4.89,24.21), layer=15, texttype=0))
wordline_driver_array.add(gdstk.Label('gnd', (4.89,18.83), layer=15, texttype=0))
wordline_driver_array.add(gdstk.Label('gnd', (4.89,32.28), layer=15, texttype=0))
wordline_driver_array.add(gdstk.Label('gnd', (4.89,37.66), layer=15, texttype=0))
wordline_driver_array.add(gdstk.Label('gnd', (4.89,8.07), layer=15, texttype=0))
wordline_driver_array.add(gdstk.Label('gnd', (4.89,0), layer=15, texttype=0))
wordline_driver_array.add(gdstk.Label('gnd', (4.89,26.9), layer=15, texttype=0))
wordline_driver_array.add(gdstk.Label('gnd', (4.89,29.59), layer=15, texttype=0))
wordline_driver_array.add(gdstk.Label('gnd', (4.89,43.04), layer=15, texttype=0))
wordline_driver_array.add(gdstk.Label('gnd', (4.89,40.35), layer=15, texttype=0))
wordline_driver_array.add(gdstk.Label('gnd', (4.89,16.14), layer=15, texttype=0))
wordline_driver_array.add(gdstk.Label('gnd', (4.89,5.38), layer=15, texttype=0))
wordline_driver_array.add(gdstk.Label('gnd', (4.89,10.76), layer=15, texttype=0))
wordline_driver_array.add(gdstk.Label('gnd', (4.89,2.69), layer=15, texttype=0))
wordline_driver_array.add(gdstk.Label('gnd', (4.89,34.97), layer=15, texttype=0))
wordline_driver_array.add(gdstk.Label('gnd', (4.89,13.45), layer=15, texttype=0))

lib.write_gds('wordline_driver_array.gds')
